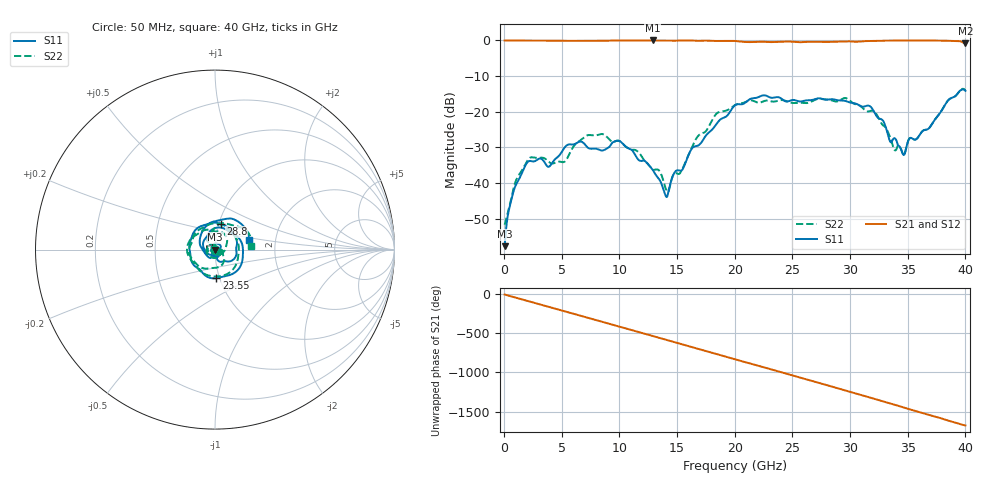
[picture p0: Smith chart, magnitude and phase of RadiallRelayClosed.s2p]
! C:\Work\PySI\TestSignalIntegrity\ScientificPulserSampler\RadiallRelayClosed.s2p
! Tue Aug  7 09:44:29 2018
!!Measured using LeCroy SPARQ LCRY2401N02001
!SingleEnded
! freq S11 S21 S12 S22
# MHz S MA R 50.00
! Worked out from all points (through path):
!   800 points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, 50 MHz to 40 GHz, reference 50 ohm
!   highest |S21| = 0.00 dB at 12.9 GHz (marker M1); lowest = -0.8 dB at 40 GHz (marker M2)
!   group delay of S21, straight-line fit = 116 ps
!   lowest |S11| = -57.7 dB at 50 MHz (marker M3), VSWR 1.00, Z = 50.1 + j0.0414 ohm
!   |S11| at or under -10 dB: start of sweep to end of sweep
!   |S22| runs from -51.6 to -13.6 dB; largest |S21 - S12| = 0.031
!   S11 on the Smith chart (normalised r, x): 50 MHz: 1.00, +0.00; 23.55 GHz: 0.97, -0.32; 28.8 GHz: 1.02, +0.30; 40 GHz: 1.46, +0.17
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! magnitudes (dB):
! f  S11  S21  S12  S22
! 50 MHz  -57.7  0.0  0.0  -51.6
! 800 MHz  -42.6  -0.1  -0.1  -41.8
! 2 GHz  -34.3  -0.1  -0.1  -33.8
! 3.9 GHz  -35.4  -0.1  -0.1  -34.1
! 5.2 GHz  -30.2  -0.1  -0.1  -34.1
! 6.75 GHz  -28.4  -0.1  -0.1  -27.7
! 8.5 GHz  -30.9  -0.1  -0.1  -26.2
! 10 GHz  -28.2  0.0  0.0  -28.2
! 12.9 GHz  -36.3  0.0  0.0  -36.3
! 13.4 GHz  -38.7  0.0  0.0  -36.3
! 14.2 GHz  -43.1  0.0  0.0  -42.5
! 14.8 GHz  -36.9  -0.1  -0.1  -37.2
! 15.35 GHz  -36.5  0.0  0.0  -36.7
! 16.8 GHz  -29.5  -0.1  -0.1  -26.9
! 20.05 GHz  -18.1  -0.2  -0.1  -18.1
! 23.55 GHz  -15.9  -0.4  -0.4  -17.1
! 26.7 GHz  -16.7  -0.4  -0.5  -17.1
! 28.8 GHz  -16.7  -0.3  -0.4  -17.1
! 31.75 GHz  -18.5  -0.1  -0.2  -19.8
! 33.35 GHz  -27.2  0.0  -0.1  -26.2
! 34.65 GHz  -32.1  0.0  0.0  -32.1
! 40 GHz  -14.1  -0.8  -0.7  -14.0
